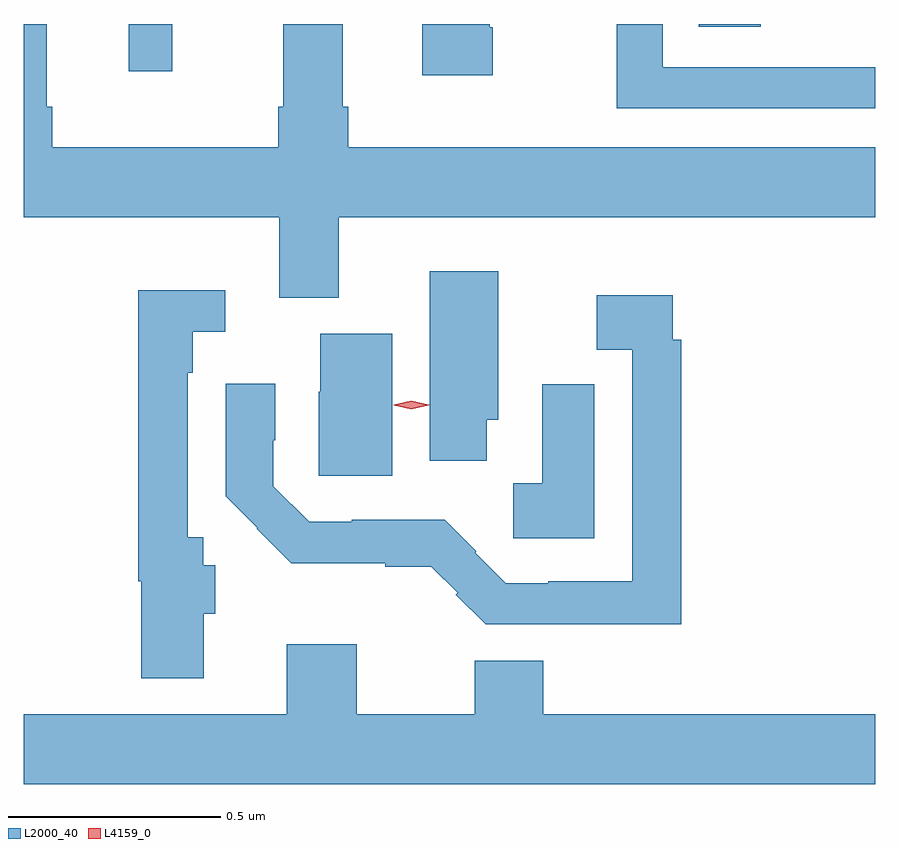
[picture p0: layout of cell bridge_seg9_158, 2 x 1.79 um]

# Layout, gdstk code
import gdstk
lib = gdstk.Library(unit=1e-6, precision=1e-09)
def R(c, l, rs):  # rectangles x0, y0, x1, y1
    for r in rs: c.add(gdstk.rectangle(r[:2], r[2:], *l))
def P(c, l, *ps):  # polygons
    for p in ps: c.add(gdstk.Polygon(p, *l))
L2000_40 = (2000, 40)
L4159_0 = (4159, 0)

bridge_seg9_158 = lib.new_cell('bridge_seg9_158')
R(bridge_seg9_158, L2000_40, [(375.554,1176.783,375.656,1176.894), (376.894,1176.888,377.04,1176.894)])
P(bridge_seg9_158, L2000_40, [(376.048,1176.44),(377.308,1176.44),(377.308,1176.604),(376.07,1176.604),(376.07,1176.7),(376.057,1176.7),(376.057,1176.894),(375.917,1176.894),(375.917,1176.7),(375.905,1176.7),(375.905,1176.604),(375.374,1176.604),(375.374,1176.7),(375.361,1176.7),(375.361,1176.894),(375.308,1176.894),(375.308,1176.44),(375.908,1176.44),(375.908,1176.251),(376.048,1176.251)],
  [(377.308,1176.792),(376.809,1176.792),(376.809,1176.894),(376.701,1176.894),(376.701,1176.696),(377.308,1176.696)],
  [(376.41,1176.886),(376.402,1176.886),(376.402,1176.894),(376.244,1176.894),(376.244,1176.774),(376.41,1176.774)],
  [(376.396,1175.964),(376.423,1175.964),(376.423,1176.313),(376.262,1176.313),(376.262,1175.868),(376.396,1175.868)],
  [(375.73,1175.508),(375.757,1175.508),(375.757,1175.622),(375.729,1175.622),(375.729,1175.688),(375.693,1175.688),(375.693,1176.074),(375.705,1176.074),(375.705,1176.171),(375.781,1176.171),(375.781,1176.268),(375.577,1176.268),(375.577,1175.585),(375.584,1175.585),(375.584,1175.357),(375.73,1175.357)],
  [(376.853,1176.152),(376.833,1176.152),(376.833,1176.256),(376.654,1176.256),(376.654,1176.128),(376.737,1176.128),(376.737,1175.584),(376.54,1175.584),(376.54,1175.58),(376.44,1175.58),(376.368,1175.652),(376.371,1175.655),(376.297,1175.729),(376.078,1175.729),(376.078,1175.724),(375.978,1175.724),(375.894,1175.808),(375.894,1175.916),(375.898,1175.916),(375.898,1176.049),(375.782,1176.049),(375.782,1175.784),(375.856,1175.71),(375.855,1175.708),(375.936,1175.627),(376.157,1175.627),(376.157,1175.619),(376.265,1175.619),(376.327,1175.557),(376.323,1175.553),(376.393,1175.483),(376.853,1175.483)],
  [(376.174,1176.166),(376.004,1176.166),(376.004,1176.03),(376.001,1176.03),(376.001,1175.832),(376.174,1175.832)],
  [(376.648,1176.047),(376.526,1176.047),(376.526,1175.815),(376.458,1175.815),(376.458,1175.686),(376.648,1175.686)],
  [(377.308,1175.272),(376.528,1175.272),(376.528,1175.398),(376.367,1175.398),(376.367,1175.272),(376.09,1175.272),(376.09,1175.437),(375.926,1175.437),(375.926,1175.272),(375.308,1175.272),(375.308,1175.108),(377.308,1175.108)])
P(bridge_seg9_158, L4159_0, [(376.218,1175.989),(376.177,1175.998),(376.177,1175.998),(376.177,1175.999),(376.218,1176.009),(376.259,1175.999),(376.26,1175.999),(376.259,1175.998)])

lib.write_gds('bridge_seg9_158.gds')
